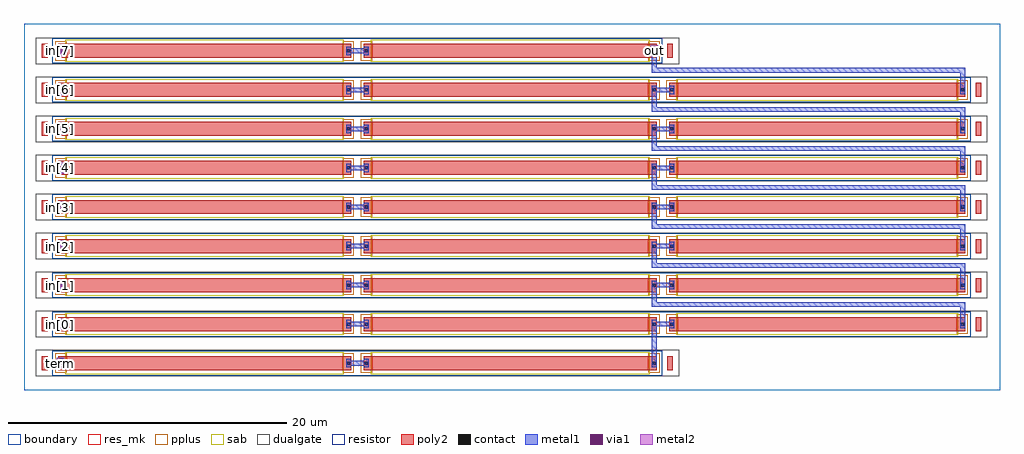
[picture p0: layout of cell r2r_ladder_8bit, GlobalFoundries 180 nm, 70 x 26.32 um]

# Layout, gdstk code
import gdstk
lib = gdstk.Library(unit=1e-6, precision=1e-09)
def R(c, l, rs):  # rectangles x0, y0, x1, y1
    for r in rs: c.add(gdstk.rectangle(r[:2], r[2:], *l))
def A(c, l, x, y, w, h, nx, ny, dx, dy):  # array of equal rectangles
    R(c, l, [(x+i*dx, y+j*dy, x+i*dx+w, y+j*dy+h) for i in range(nx) for j in range(ny)])
def P(c, l, *ps):  # polygons
    for p in ps: c.add(gdstk.Polygon(p, *l))
boundary = (0, 0)
poly2 = (30, 0)
pplus = (31, 0)
contact = (33, 0)
metal1 = (34, 0)
via1 = (35, 0)
metal2 = (36, 0)
sab = (49, 0)
dualgate = (55, 0)
resistor = (62, 0)
res_mk = (110, 5)

r2r_ladder_8bit = lib.new_cell('r2r_ladder_8bit')
R(r2r_ladder_8bit, boundary, [(0,0,70,26.32)])
A(r2r_ladder_8bit, poly2, 1.29, 1.46, 0.4, 1, 1, 9, 0, 2.8)
A(r2r_ladder_8bit, poly2, 2.44, 1.46, 21.02, 1, 1, 9, 0, 2.8)
A(r2r_ladder_8bit, poly2, 24.36, 1.46, 21.02, 1, 1, 9, 0, 2.8)
A(r2r_ladder_8bit, poly2, 46.28, 4.26, 21.22, 1, 1, 7, 0, 2.8)
A(r2r_ladder_8bit, poly2, 68.25, 4.26, 0.4, 1, 1, 7, 0, 2.8)
R(r2r_ladder_8bit, poly2, [(46.13,1.46,46.53,2.46), (46.13,23.86,46.53,24.86)])
A(r2r_ladder_8bit, pplus, 2.24, 1.26, 0.81, 1.4, 1, 9, 0, 2.8)
A(r2r_ladder_8bit, pplus, 22.85, 1.26, 0.81, 1.4, 1, 9, 0, 2.8)
A(r2r_ladder_8bit, pplus, 24.16, 1.26, 0.81, 1.4, 1, 9, 0, 2.8)
A(r2r_ladder_8bit, pplus, 44.77, 1.26, 0.81, 1.4, 1, 9, 0, 2.8)
A(r2r_ladder_8bit, pplus, 46.08, 4.06, 0.81, 1.4, 1, 7, 0, 2.8)
A(r2r_ladder_8bit, pplus, 66.89, 4.06, 0.81, 1.4, 1, 7, 0, 2.8)
A(r2r_ladder_8bit, contact, 2.51, 1.85, 0.22, 0.22, 1, 9, 0, 2.8)
A(r2r_ladder_8bit, contact, 23.17, 1.85, 0.22, 0.22, 1, 9, 0, 2.8)
A(r2r_ladder_8bit, contact, 24.43, 1.85, 0.22, 0.22, 1, 9, 0, 2.8)
A(r2r_ladder_8bit, contact, 45.09, 1.85, 0.22, 0.22, 1, 9, 0, 2.8)
A(r2r_ladder_8bit, contact, 46.35, 4.65, 0.22, 0.22, 1, 7, 0, 2.8)
A(r2r_ladder_8bit, contact, 67.21, 4.65, 0.22, 0.22, 1, 7, 0, 2.8)
P(r2r_ladder_8bit, metal1, [(2.45,1.66),(2.45,1.76),(2.42,1.76),(2.42,2.16),(2.45,2.16),(2.45,2.26),(2.79,2.26),(2.79,2.16),(2.82,2.16),(2.82,1.76),(2.79,1.76),(2.79,1.66)],
  [(23.11,1.66),(23.11,2.26),(23.45,2.26),(23.45,2.13),(24.37,2.13),(24.37,2.26),(24.71,2.26),(24.71,1.66),(24.37,1.66),(24.37,1.79),(23.45,1.79),(23.45,1.66)],
  [(2.45,4.46),(2.45,4.56),(2.42,4.56),(2.42,4.96),(2.45,4.96),(2.45,5.06),(2.79,5.06),(2.79,4.96),(2.82,4.96),(2.82,4.56),(2.79,4.56),(2.79,4.46)],
  [(23.11,4.46),(23.11,5.06),(23.45,5.06),(23.45,4.93),(24.37,4.93),(24.37,5.06),(24.71,5.06),(24.71,4.46),(24.37,4.46),(24.37,4.59),(23.45,4.59),(23.45,4.46)],
  [(45.03,1.66),(45.03,5.06),(45.37,5.06),(45.37,4.93),(46.29,4.93),(46.29,5.06),(46.63,5.06),(46.63,4.46),(46.29,4.46),(46.29,4.59),(45.37,4.59),(45.37,1.66)],
  [(2.45,7.26),(2.45,7.36),(2.42,7.36),(2.42,7.76),(2.45,7.76),(2.45,7.86),(2.79,7.86),(2.79,7.76),(2.82,7.76),(2.82,7.36),(2.79,7.36),(2.79,7.26)],
  [(23.11,7.26),(23.11,7.86),(23.45,7.86),(23.45,7.73),(24.37,7.73),(24.37,7.86),(24.71,7.86),(24.71,7.26),(24.37,7.26),(24.37,7.39),(23.45,7.39),(23.45,7.26)],
  [(67.15,4.46),(67.15,5.99),(45.03,5.99),(45.03,7.86),(45.37,7.86),(45.37,7.73),(46.29,7.73),(46.29,7.86),(46.63,7.86),(46.63,7.26),(46.29,7.26),(46.29,7.39),(45.37,7.39),(45.37,6.33),(67.49,6.33),(67.49,4.46)],
  [(2.45,10.06),(2.45,10.16),(2.42,10.16),(2.42,10.56),(2.45,10.56),(2.45,10.66),(2.79,10.66),(2.79,10.56),(2.82,10.56),(2.82,10.16),(2.79,10.16),(2.79,10.06)],
  [(23.11,10.06),(23.11,10.66),(23.45,10.66),(23.45,10.53),(24.37,10.53),(24.37,10.66),(24.71,10.66),(24.71,10.06),(24.37,10.06),(24.37,10.19),(23.45,10.19),(23.45,10.06)],
  [(67.15,7.26),(67.15,8.79),(45.03,8.79),(45.03,10.66),(45.37,10.66),(45.37,10.53),(46.29,10.53),(46.29,10.66),(46.63,10.66),(46.63,10.06),(46.29,10.06),(46.29,10.19),(45.37,10.19),(45.37,9.13),(67.49,9.13),(67.49,7.26)],
  [(2.45,12.86),(2.45,12.96),(2.42,12.96),(2.42,13.36),(2.45,13.36),(2.45,13.46),(2.79,13.46),(2.79,13.36),(2.82,13.36),(2.82,12.96),(2.79,12.96),(2.79,12.86)],
  [(23.11,12.86),(23.11,13.46),(23.45,13.46),(23.45,13.33),(24.37,13.33),(24.37,13.46),(24.71,13.46),(24.71,12.86),(24.37,12.86),(24.37,12.99),(23.45,12.99),(23.45,12.86)],
  [(67.15,10.06),(67.15,11.59),(45.03,11.59),(45.03,13.46),(45.37,13.46),(45.37,13.33),(46.29,13.33),(46.29,13.46),(46.63,13.46),(46.63,12.86),(46.29,12.86),(46.29,12.99),(45.37,12.99),(45.37,11.93),(67.49,11.93),(67.49,10.06)],
  [(2.45,15.66),(2.45,15.76),(2.42,15.76),(2.42,16.16),(2.45,16.16),(2.45,16.26),(2.79,16.26),(2.79,16.16),(2.82,16.16),(2.82,15.76),(2.79,15.76),(2.79,15.66)],
  [(23.11,15.66),(23.11,16.26),(23.45,16.26),(23.45,16.13),(24.37,16.13),(24.37,16.26),(24.71,16.26),(24.71,15.66),(24.37,15.66),(24.37,15.79),(23.45,15.79),(23.45,15.66)],
  [(67.15,12.86),(67.15,14.39),(45.03,14.39),(45.03,16.26),(45.37,16.26),(45.37,16.13),(46.29,16.13),(46.29,16.26),(46.63,16.26),(46.63,15.66),(46.29,15.66),(46.29,15.79),(45.37,15.79),(45.37,14.73),(67.49,14.73),(67.49,12.86)],
  [(2.45,18.46),(2.45,18.56),(2.42,18.56),(2.42,18.96),(2.45,18.96),(2.45,19.06),(2.79,19.06),(2.79,18.96),(2.82,18.96),(2.82,18.56),(2.79,18.56),(2.79,18.46)],
  [(23.11,18.46),(23.11,19.06),(23.45,19.06),(23.45,18.93),(24.37,18.93),(24.37,19.06),(24.71,19.06),(24.71,18.46),(24.37,18.46),(24.37,18.59),(23.45,18.59),(23.45,18.46)],
  [(67.15,15.66),(67.15,17.19),(45.03,17.19),(45.03,19.06),(45.37,19.06),(45.37,18.93),(46.29,18.93),(46.29,19.06),(46.63,19.06),(46.63,18.46),(46.29,18.46),(46.29,18.59),(45.37,18.59),(45.37,17.53),(67.49,17.53),(67.49,15.66)],
  [(2.45,21.26),(2.45,21.36),(2.42,21.36),(2.42,21.76),(2.45,21.76),(2.45,21.86),(2.79,21.86),(2.79,21.76),(2.82,21.76),(2.82,21.36),(2.79,21.36),(2.79,21.26)],
  [(23.11,21.26),(23.11,21.86),(23.45,21.86),(23.45,21.73),(24.37,21.73),(24.37,21.86),(24.71,21.86),(24.71,21.26),(24.37,21.26),(24.37,21.39),(23.45,21.39),(23.45,21.26)],
  [(67.15,18.46),(67.15,19.99),(45.03,19.99),(45.03,21.86),(45.37,21.86),(45.37,21.73),(46.29,21.73),(46.29,21.86),(46.63,21.86),(46.63,21.26),(46.29,21.26),(46.29,21.39),(45.37,21.39),(45.37,20.33),(67.49,20.33),(67.49,18.46)],
  [(2.45,24.06),(2.45,24.16),(2.42,24.16),(2.42,24.56),(2.45,24.56),(2.45,24.66),(2.79,24.66),(2.79,24.56),(2.82,24.56),(2.82,24.16),(2.79,24.16),(2.79,24.06)],
  [(23.11,24.06),(23.11,24.66),(23.45,24.66),(23.45,24.53),(24.37,24.53),(24.37,24.66),(24.71,24.66),(24.71,24.06),(24.37,24.06),(24.37,24.19),(23.45,24.19),(23.45,24.06)],
  [(67.15,21.26),(67.15,22.79),(45.03,22.79),(45.03,24.16),(45,24.16),(45,24.56),(45.03,24.56),(45.03,24.66),(45.37,24.66),(45.37,24.56),(45.4,24.56),(45.4,24.16),(45.37,24.16),(45.37,23.13),(67.49,23.13),(67.49,21.26)])
A(r2r_ladder_8bit, via1, 2.49, 1.83, 0.26, 0.26, 1, 9, 0, 2.8)
R(r2r_ladder_8bit, via1, [(45.07,24.23,45.33,24.49)])
A(r2r_ladder_8bit, metal2, 2.34, 1.56, 0.56, 0.8, 1, 9, 0, 2.8)
R(r2r_ladder_8bit, metal2, [(44.92,23.96,45.48,24.76)])
A(r2r_ladder_8bit, sab, 2.95, 1.18, 20, 1.56, 1, 9, 0, 2.8)
A(r2r_ladder_8bit, sab, 24.87, 1.18, 20, 1.56, 1, 9, 0, 2.8)
A(r2r_ladder_8bit, sab, 46.79, 3.98, 20.2, 1.56, 1, 7, 0, 2.8)
A(r2r_ladder_8bit, dualgate, 0.84, 3.81, 68.26, 1.9, 1, 7, 0, 2.8)
R(r2r_ladder_8bit, dualgate, [(0.84,1.01,46.98,2.91), (0.84,23.41,46.98,25.31)])
A(r2r_ladder_8bit, resistor, 2.04, 3.86, 65.86, 1.8, 1, 7, 0, 2.8)
R(r2r_ladder_8bit, resistor, [(2.04,1.06,45.78,2.86), (2.04,23.46,45.78,25.26)])
A(r2r_ladder_8bit, res_mk, 3.05, 1.46, 19.8, 1, 1, 9, 0, 2.8)
A(r2r_ladder_8bit, res_mk, 24.97, 1.46, 19.8, 1, 1, 9, 0, 2.8)
A(r2r_ladder_8bit, res_mk, 46.89, 4.26, 20, 1, 1, 7, 0, 2.8)
r2r_ladder_8bit.add(gdstk.Label('term', (2.62,1.96), layer=34, texttype=10))
r2r_ladder_8bit.add(gdstk.Label('in[0]', (2.62,4.76), layer=34, texttype=10))
r2r_ladder_8bit.add(gdstk.Label('in[1]', (2.62,7.56), layer=34, texttype=10))
r2r_ladder_8bit.add(gdstk.Label('in[2]', (2.62,10.36), layer=34, texttype=10))
r2r_ladder_8bit.add(gdstk.Label('in[3]', (2.62,13.16), layer=34, texttype=10))
r2r_ladder_8bit.add(gdstk.Label('in[4]', (2.62,15.96), layer=34, texttype=10))
r2r_ladder_8bit.add(gdstk.Label('in[5]', (2.62,18.76), layer=34, texttype=10))
r2r_ladder_8bit.add(gdstk.Label('in[6]', (2.62,21.56), layer=34, texttype=10))
r2r_ladder_8bit.add(gdstk.Label('in[7]', (2.62,24.36), layer=34, texttype=10))
r2r_ladder_8bit.add(gdstk.Label('out', (45.2,24.36), layer=34, texttype=10))
r2r_ladder_8bit.add(gdstk.Label('term', (2.62,1.96), layer=36, texttype=10))
r2r_ladder_8bit.add(gdstk.Label('in[0]', (2.62,4.76), layer=36, texttype=10))
r2r_ladder_8bit.add(gdstk.Label('in[1]', (2.62,7.56), layer=36, texttype=10))
r2r_ladder_8bit.add(gdstk.Label('in[2]', (2.62,10.36), layer=36, texttype=10))
r2r_ladder_8bit.add(gdstk.Label('in[3]', (2.62,13.16), layer=36, texttype=10))
r2r_ladder_8bit.add(gdstk.Label('in[4]', (2.62,15.96), layer=36, texttype=10))
r2r_ladder_8bit.add(gdstk.Label('in[5]', (2.62,18.76), layer=36, texttype=10))
r2r_ladder_8bit.add(gdstk.Label('in[6]', (2.62,21.56), layer=36, texttype=10))
r2r_ladder_8bit.add(gdstk.Label('in[7]', (2.62,24.36), layer=36, texttype=10))
r2r_ladder_8bit.add(gdstk.Label('out', (45.2,24.36), layer=36, texttype=10))

lib.write_gds('r2r_ladder_8bit.gds')
